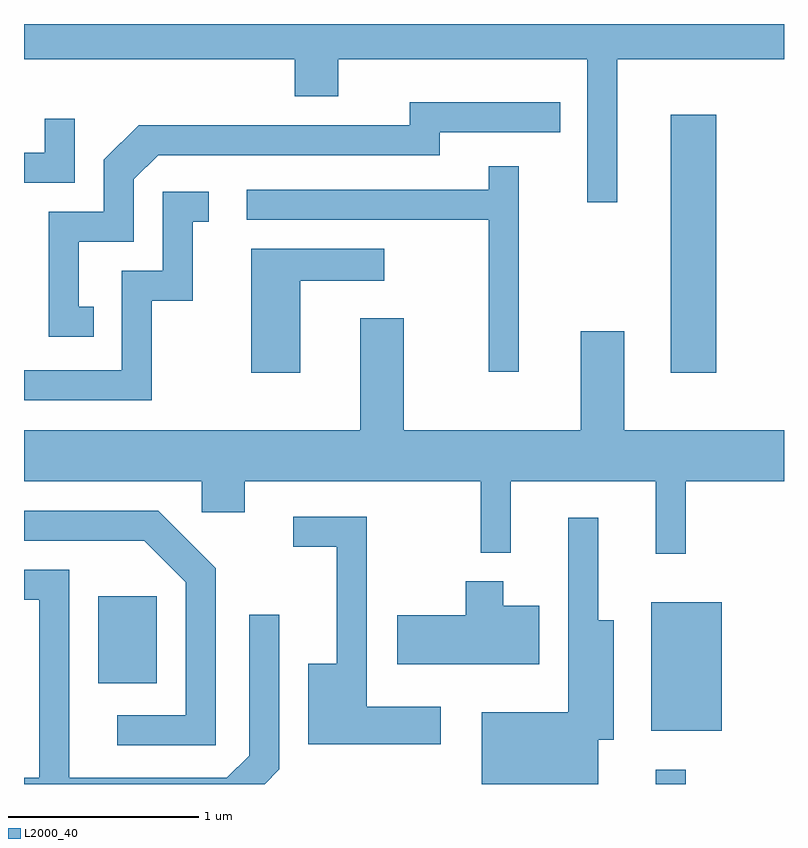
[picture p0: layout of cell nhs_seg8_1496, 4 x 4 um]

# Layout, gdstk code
import gdstk
lib = gdstk.Library(unit=1e-6, precision=1e-09)
def R(c, l, rs):  # rectangles x0, y0, x1, y1
    for r in rs: c.add(gdstk.rectangle(r[:2], r[2:], *l))
def P(c, l, *ps):  # polygons
    for p in ps: c.add(gdstk.Polygon(p, *l))
L2000_40 = (2000, 40)

nhs_seg8_1496 = lib.new_cell('nhs_seg8_1496')
R(nhs_seg8_1496, L2000_40, [(232.936,1870.342,233.094,1870.418), (232.911,1870.621,233.284,1871.299), (230.001,1870.871,230.309,1871.329), (233.016,1872.506,233.254,1873.864)])
P(nhs_seg8_1496, L2000_40, [(232.734,1874.156),(233.611,1874.156),(233.611,1874.342),(229.611,1874.342),(229.611,1874.156),(231.036,1874.156),(231.036,1873.961),(231.264,1873.961),(231.264,1874.156),(232.576,1874.156),(232.576,1873.403),(232.734,1873.403)],
  [(229.978,1872.854),(229.899,1872.854),(229.899,1873.196),(230.189,1873.196),(230.189,1873.524),(230.317,1873.651),(231.799,1873.651),(231.799,1873.771),(232.433,1873.771),(232.433,1873.929),(231.641,1873.929),(231.641,1873.809),(230.214,1873.809),(230.031,1873.627),(230.031,1873.354),(229.741,1873.354),(229.741,1872.696),(229.978,1872.696)],
  [(229.879,1873.843),(229.721,1873.843),(229.721,1873.664),(229.611,1873.664),(229.611,1873.506),(229.879,1873.506)],
  [(232.214,1873.593),(232.056,1873.593),(232.056,1873.469),(230.783,1873.469),(230.783,1873.311),(232.056,1873.311),(232.056,1872.513),(232.214,1872.513)],
  [(230.284,1872.886),(230.499,1872.886),(230.499,1873.301),(230.583,1873.301),(230.583,1873.459),(230.341,1873.459),(230.341,1873.044),(230.126,1873.044),(230.126,1872.519),(229.611,1872.519),(229.611,1872.361),(230.284,1872.361)],
  [(231.064,1872.991),(231.508,1872.991),(231.508,1873.159),(230.806,1873.159),(230.806,1872.506),(231.064,1872.506)],
  [(233.094,1871.936),(233.611,1871.936),(233.611,1872.204),(232.769,1872.204),(232.769,1872.724),(232.541,1872.724),(232.541,1872.204),(231.609,1872.204),(231.609,1872.794),(231.381,1872.794),(231.381,1872.204),(229.611,1872.204),(229.611,1871.936),(230.546,1871.936),(230.546,1871.771),(230.774,1871.771),(230.774,1871.936),(232.016,1871.936),(232.016,1871.558),(232.174,1871.558),(232.174,1871.936),(232.936,1871.936),(232.936,1871.553),(233.094,1871.553)],
  [(230.619,1871.477),(230.317,1871.779),(229.611,1871.779),(229.611,1871.621),(230.244,1871.621),(230.461,1871.404),(230.461,1870.704),(230.103,1870.704),(230.103,1870.546),(230.619,1870.546)],
  [(231.804,1870.749),(231.414,1870.749),(231.414,1871.749),(231.028,1871.749),(231.028,1871.591),(231.256,1871.591),(231.256,1870.974),(231.106,1870.974),(231.106,1870.551),(231.804,1870.551)],
  [(232.634,1870.576),(232.714,1870.576),(232.714,1871.204),(232.634,1871.204),(232.634,1871.743),(232.476,1871.743),(232.476,1870.719),(232.021,1870.719),(232.021,1870.342),(232.634,1870.342)],
  [(230.954,1870.419),(230.954,1871.233),(230.796,1871.233),(230.796,1870.492),(230.679,1870.374),(229.849,1870.374),(229.849,1871.469),(229.611,1871.469),(229.611,1871.311),(229.691,1871.311),(229.691,1870.374),(229.613,1870.374),(229.613,1870.342),(230.877,1870.342)],
  [(232.324,1871.279),(232.134,1871.279),(232.134,1871.409),(231.936,1871.409),(231.936,1871.229),(231.576,1871.229),(231.576,1870.971),(232.324,1870.971)])

lib.write_gds('nhs_seg8_1496.gds')
